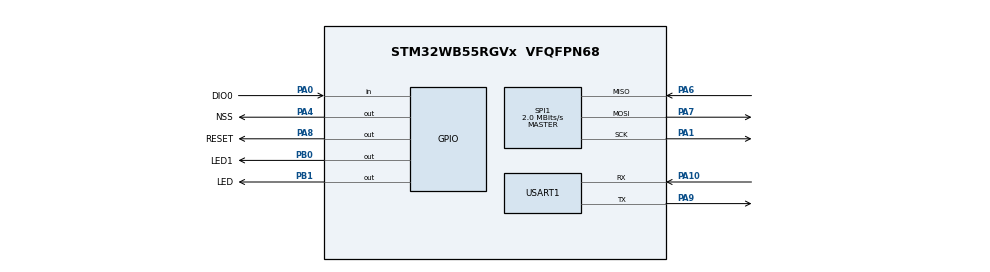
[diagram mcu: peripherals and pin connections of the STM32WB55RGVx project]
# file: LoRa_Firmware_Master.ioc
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Mcu.Family=STM32WB
Mcu.Name=STM32WB55RGVx
Mcu.Package=VFQFPN68
NVIC.PriorityGroup=NVIC_PRIORITYGROUP_4
PA0.GPIO_Label=DIO0
PA0.Signal=GPIO_Input
PA1.GPIO_Speed=GPIO_SPEED_FREQ_VERY_HIGH
PA1.Mode=Full_Duplex_Master
PA1.Signal=SPI1_SCK
PA10.GPIO_Speed=GPIO_SPEED_FREQ_VERY_HIGH
PA10.Mode=Asynchronous
PA10.Signal=USART1_RX
PA13.Mode=Trace_Asynchronous_SW
PA13.Signal=SYS_JTMS-SWDIO
PA14.Mode=Trace_Asynchronous_SW
PA14.Signal=SYS_JTCK-SWCLK
PA4.GPIO_Label=NSS
PA4.PinState=GPIO_PIN_SET
PA4.Signal=GPIO_Output
PA6.GPIO_Speed=GPIO_SPEED_FREQ_VERY_HIGH
PA6.Mode=Full_Duplex_Master
PA6.Signal=SPI1_MISO
PA7.GPIO_Speed=GPIO_SPEED_FREQ_VERY_HIGH
PA7.Mode=Full_Duplex_Master
PA7.Signal=SPI1_MOSI
PA8.GPIO_Label=RESET
PA8.PinState=GPIO_PIN_SET
PA8.Signal=GPIO_Output
PA9.GPIO_Speed=GPIO_SPEED_FREQ_VERY_HIGH
PA9.Mode=Asynchronous
PA9.Signal=USART1_TX
PB0.GPIO_Label=LED1
PB0.Signal=GPIO_Output
PB1.GPIO_Label=LED
PB1.Signal=GPIO_Output
PB3.Mode=Trace_Asynchronous_SW
PB3.Signal=SYS_JTDO-SWO
ProjectManager.HeapSize=0x200
ProjectManager.StackSize=0x400
ProjectManager.TargetToolchain=STM32CubeIDE
RCC.APB3Freq_Value=16000000
RCC.HSE_VALUE=8000000
RCC.HSI48_VALUE=48000000
RCC.HSI_VALUE=16000000
RCC.LSE_VALUE=32768
RCC.VCOOutputFreq_Value=32000000
SPI1.CalculateBaudRate=2.0 MBits/s
SPI1.DataSize=SPI_DATASIZE_8BIT
SPI1.Direction=SPI_DIRECTION_2LINES
SPI1.Mode=SPI_MODE_MASTER
SPI1.VirtualType=VM_MASTER
USART1.VirtualMode-Asynchronous=VM_ASYNC
board=custom

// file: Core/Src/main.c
/* USER CODE BEGIN Header */
/**
 ******************************************************************************
 * @file           : main.c
 * @brief          : Main program body
 ******************************************************************************
 * @attention
 *
 * <h2><center>&copy; Copyright (c) 2020 STMicroelectronics.
 * All rights reserved.</center></h2>
 *
 * This software component is licensed by ST under BSD 3-Clause license,
 * the "License"; You may not use this file except in compliance with the
 * License. You may obtain a copy of the License at:
 *                        opensource.org/licenses/BSD-3-Clause
 *
 ******************************************************************************
 */
/* USER CODE END Header */
#include "main.h"
#include "spi.h"
#include "usart.h"
#include "gpio.h"

/* USER CODE BEGIN Includes */
#include <stdio.h>
#include "SX1278.h"
#include <string.h>
#include <stdlib.h>
/* USER CODE END Includes */

/* USER CODE BEGIN PV */
/* Private variables ---------------------------------------------------------*/

/* USER CODE END PV */

void SystemClock_Config(void);
/* USER CODE BEGIN PFP */
/* Private function prototypes -----------------------------------------------*/

int _write(int file, char *ptr, int len) {
	int i;
	HAL_UART_Transmit(&huart1, (uint8_t*) ptr, len, 50);
	for (i = 0; i < len; i++) {
		ITM_SendChar(*ptr++);
	}
	return len;
}

/* USER CODE END PFP */

/* USER CODE BEGIN 0 */

SX1278_hw_t SX1278_hw;
SX1278_t SX1278;
SX1278_pack_t rxpacket;
SX1278_pack_t ack;
int master;
int ret;
int retack;
char ackBuffer[100];
char buffer[512]={0};
int count = 0;
int message;
int message_length;
int send_packets = 0;
int state = 0;
int retry;
/* USER CODE END 0 */

int main(void)
{

  /* MCU Configuration--------------------------------------------------------*/

  /* Reset of all peripherals, Initializes the Flash interface and the Systick. */
  HAL_Init();

  /* Configure the system clock */
  SystemClock_Config();

  /* Initialize all configured peripherals */
  MX_GPIO_Init();
  MX_USART1_UART_Init();
  MX_SPI1_Init();
  /* USER CODE BEGIN 2 */

//initialize LoRa module
  SX1278_hw.dio0.port = DIO0_GPIO_Port;
  SX1278_hw.dio0.pin = DIO0_Pin;
  SX1278_hw.nss.port = NSS_GPIO_Port;
  SX1278_hw.nss.pin = NSS_Pin;
  SX1278_hw.reset.port = RESET_GPIO_Port;
  SX1278_hw.reset.pin = RESET_Pin;
  SX1278_hw.spi = &hspi1;

  SX1278.hw = &SX1278_hw;
//  printf("Configuring LoRa module\r\n");

//overCurrentProtection = 120; 		node addr 2					// default = 100 mA
  SX1278_init(&SX1278, 433000000, SX1278_POWER_17DBM,120, SX1278_LORA_SF_7,
	  			SX1278_LORA_BW_250KHZ, SX1278_LORA_CR_4_5,2, SX1278_LORA_CRC_DIS, 10);
//  printf("Done configuring LoRaModule\r\n");

  //Entry to Rx mode
  ret = SX1278_LoRaEntryRx(&SX1278, 225, 2000);
  /* USER CODE END 2 */

  /* Infinite loop */
	while (1) {

    /* USER CODE BEGIN 3 */
		HAL_GPIO_WritePin(LED_GPIO_Port, LED_Pin, GPIO_PIN_RESET);
		HAL_GPIO_WritePin(LED1_GPIO_Port, LED1_Pin, GPIO_PIN_RESET);
		switch(state){
			case 0:
				ret = SX1278_LoRaRxPacket(&SX1278, &rxpacket, &ack);
				retry = rxpacket.retry;
				if (ret> 0)
					{state = 1;
					HAL_GPIO_TogglePin(LED_GPIO_Port, LED_Pin);
					}
				else state = 2;
				break;
			case 1:
				retack = SX1278_LoRaEntryTx(&SX1278, 255, 2000);
				retack = SX1278_LoRaTxPacketACK(&SX1278, &rxpacket, &ack, 2000);
				if (retack == 1) {
					state = 2;
					HAL_GPIO_TogglePin(LED1_GPIO_Port, LED1_Pin);
				}
				else state = 1;
				break;
			case 2:
				HAL_Delay(100);
				ret = SX1278_LoRaEntryRx(&SX1278, 255, 2000);
				HAL_Delay(400);
				if (ret == 1) state = 0;
				else state = 2;
				break;
		}
	}

  /* USER CODE END 3 */
}

void SystemClock_Config(void)
{
  RCC_OscInitTypeDef RCC_OscInitStruct = {0};
  RCC_ClkInitTypeDef RCC_ClkInitStruct = {0};
  RCC_PeriphCLKInitTypeDef PeriphClkInitStruct = {0};

  /** Configure the main internal regulator output voltage
  */
  __HAL_PWR_VOLTAGESCALING_CONFIG(PWR_REGULATOR_VOLTAGE_SCALE1);
  /** Initializes the RCC Oscillators according to the specified parameters
  * in the RCC_OscInitTypeDef structure.
  */
  RCC_OscInitStruct.OscillatorType = RCC_OSCILLATORTYPE_HSI|RCC_OSCILLATORTYPE_MSI;
  RCC_OscInitStruct.HSIState = RCC_HSI_ON;
  RCC_OscInitStruct.MSIState = RCC_MSI_ON;
  RCC_OscInitStruct.HSICalibrationValue = RCC_HSICALIBRATION_DEFAULT;
  RCC_OscInitStruct.MSICalibrationValue = RCC_MSICALIBRATION_DEFAULT;
  RCC_OscInitStruct.MSIClockRange = RCC_MSIRANGE_6;
  RCC_OscInitStruct.PLL.PLLState = RCC_PLL_NONE;
  if (HAL_RCC_OscConfig(&RCC_OscInitStruct) != HAL_OK)
  {
    Error_Handler();
  }
  /** Configure the SYSCLKSource, HCLK, PCLK1 and PCLK2 clocks dividers
  */
  RCC_ClkInitStruct.ClockType = RCC_CLOCKTYPE_HCLK4|RCC_CLOCKTYPE_HCLK2
                              |RCC_CLOCKTYPE_HCLK|RCC_CLOCKTYPE_SYSCLK
                              |RCC_CLOCKTYPE_PCLK1|RCC_CLOCKTYPE_PCLK2;
  RCC_ClkInitStruct.SYSCLKSource = RCC_SYSCLKSOURCE_MSI;
  RCC_ClkInitStruct.AHBCLKDivider = RCC_SYSCLK_DIV1;
  RCC_ClkInitStruct.APB1CLKDivider = RCC_HCLK_DIV1;
  RCC_ClkInitStruct.APB2CLKDivider = RCC_HCLK_DIV1;
  RCC_ClkInitStruct.AHBCLK2Divider = RCC_SYSCLK_DIV1;
  RCC_ClkInitStruct.AHBCLK4Divider = RCC_SYSCLK_DIV1;

  if (HAL_RCC_ClockConfig(&RCC_ClkInitStruct, FLASH_LATENCY_0) != HAL_OK)
  {
    Error_Handler();
  }
  /** Initializes the peripherals clocks
  */
  PeriphClkInitStruct.PeriphClockSelection = RCC_PERIPHCLK_SMPS|RCC_PERIPHCLK_USART1;
  PeriphClkInitStruct.Usart1ClockSelection = RCC_USART1CLKSOURCE_PCLK2;
  PeriphClkInitStruct.SmpsClockSelection = RCC_SMPSCLKSOURCE_HSI;
  PeriphClkInitStruct.SmpsDivSelection = RCC_SMPSCLKDIV_RANGE1;
  if (HAL_RCCEx_PeriphCLKConfig(&PeriphClkInitStruct) != HAL_OK)
  {
    Error_Handler();
  }
}

void Error_Handler(void)
{
  __disable_irq();
  while (1)
  {
  }
}

/************************ (C) COPYRIGHT STMicroelectronics *****END OF FILE****/
